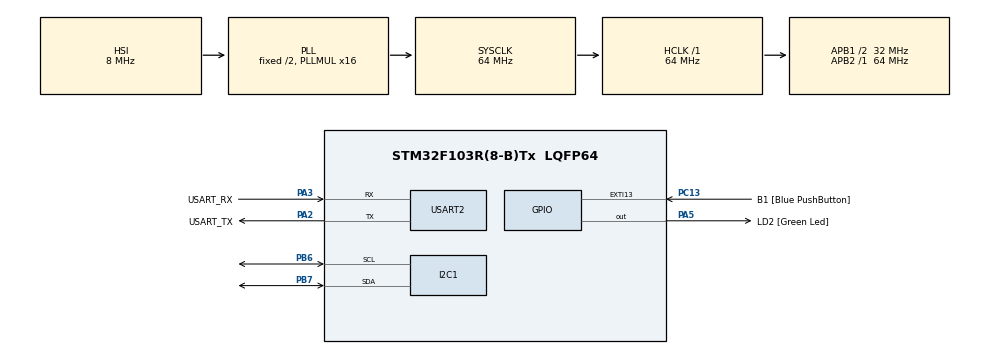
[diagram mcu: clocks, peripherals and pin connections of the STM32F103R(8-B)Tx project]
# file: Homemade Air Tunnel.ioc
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Mcu.Family=STM32F1
Mcu.Name=STM32F103R(8-B)Tx
Mcu.Package=LQFP64
NVIC.EXTI15_10_IRQn=true\:0\:0\:false\:false\:true\:true\:true\:true
NVIC.PriorityGroup=NVIC_PRIORITYGROUP_4
PA13.GPIO_Label=TMS
PA13.Mode=Serial_Wire
PA13.Signal=SYS_JTMS-SWDIO
PA14.GPIO_Label=TCK
PA14.Mode=Serial_Wire
PA14.Signal=SYS_JTCK-SWCLK
PA2.GPIO_Label=USART_TX
PA2.GPIO_Mode=GPIO_MODE_AF_PP
PA2.GPIO_PuPd=GPIO_NOPULL
PA2.GPIO_Speed=GPIO_SPEED_FREQ_LOW
PA2.Mode=Asynchronous
PA2.Signal=USART2_TX
PA3.GPIO_Label=USART_RX
PA3.GPIO_Mode=GPIO_MODE_AF_PP
PA3.GPIO_PuPd=GPIO_NOPULL
PA3.GPIO_Speed=GPIO_SPEED_FREQ_LOW
PA3.Mode=Asynchronous
PA3.Signal=USART2_RX
PA5.GPIO_Label=LD2 [Green Led]
PA5.GPIO_ModeDefaultOutputPP=GPIO_MODE_OUTPUT_PP
PA5.GPIO_PuPd=GPIO_NOPULL
PA5.GPIO_Speed=GPIO_SPEED_FREQ_LOW
PA5.Signal=GPIO_Output
PB3.GPIO_Label=SWO
PB3.Signal=SYS_JTDO-TRACESWO
PB6.Mode=I2C
PB6.Signal=I2C1_SCL
PB7.Mode=I2C
PB7.Signal=I2C1_SDA
PC13-TAMPER-RTC.GPIO_Label=B1 [Blue PushButton]
PC13-TAMPER-RTC.GPIO_PuPd=GPIO_NOPULL
PC13-TAMPER-RTC.Signal=GPXTI13
PC14-OSC32_IN.Mode=LSE-External-Oscillator
PC14-OSC32_IN.Signal=RCC_OSC32_IN
PC15-OSC32_OUT.Mode=LSE-External-Oscillator
PC15-OSC32_OUT.Signal=RCC_OSC32_OUT
PD0-OSC_IN.Mode=HSE-External-Clock-Source
PD0-OSC_IN.Signal=RCC_OSC_IN
PD1-OSC_OUT.Mode=HSE-External-Clock-Source
PD1-OSC_OUT.Signal=RCC_OSC_OUT
ProjectManager.HeapSize=0x200
ProjectManager.StackSize=0x400
ProjectManager.TargetToolchain=STM32CubeIDE
RCC.AHBFreq_Value=64000000
RCC.APB1CLKDivider=RCC_HCLK_DIV2
RCC.APB1Freq_Value=32000000
RCC.APB1TimFreq_Value=64000000
RCC.APB2Freq_Value=64000000
RCC.APB2TimFreq_Value=64000000
RCC.HCLKFreq_Value=64000000
RCC.PLLMUL=RCC_PLL_MUL16
RCC.RTCClockSelection=RCC_RTCCLKSOURCE_LSE
RCC.SYSCLKFreq_VALUE=64000000
RCC.SYSCLKSource=RCC_SYSCLKSOURCE_PLLCLK
RCC.USBFreq_Value=64000000
USART2.VirtualMode=VM_ASYNC
board=NUCLEO-F103RB

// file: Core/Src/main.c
/* USER CODE BEGIN Header */
/**
  ******************************************************************************
  * @file           : main.c
  * @brief          : Main program body
  ******************************************************************************
  * @attention
  *
  * Copyright (c) 2025 STMicroelectronics.
  * All rights reserved.
  *
  * This software is licensed under terms that can be found in the LICENSE file
  * in the root directory of this software component.
  * If no LICENSE file comes with this software, it is provided AS-IS.
  *
  ******************************************************************************
  */
/* USER CODE END Header */
#include "main.h"

/* USER CODE BEGIN Includes */
#include "math.h"
/* USER CODE END Includes */

/* USER CODE BEGIN PD */
#define SENSOR_ADDRESS 0x28
#define P_MIN -1.0 // Minimum pressure range in PSI
#define P_MAX 1.0  // Maximum pressure range in PSI
#define P_CONV 6894.757 // Conversion factor from PSI to Pascals
#define airDensity 1.225f
/* USER CODE END PD */

I2C_HandleTypeDef hi2c1;

UART_HandleTypeDef huart2;

/* USER CODE BEGIN PV */
uint8_t RX_Buffer[4];
float airspeed = 0.0;
int i = 0;
int status;
float deltaP, argument;
int16_t differentialCounts;
HAL_I2C_StateTypeDef I2C_State;
float temperature_c;
int16_t temperature;
HAL_StatusTypeDef ret;
uint16_t pressure_raw;
/* USER CODE END PV */

void SystemClock_Config(void);
static void MX_GPIO_Init(void);
static void MX_USART2_UART_Init(void);
static void MX_I2C1_Init(void);
/* USER CODE BEGIN PFP */
float calculate_airspeed(uint16_t pressure_raw);
float fix_val(float dp);
/* USER CODE END PFP */

int main(void)
{

  /* MCU Configuration--------------------------------------------------------*/

  /* Reset of all peripherals, Initializes the Flash interface and the Systick. */
  HAL_Init();

  /* Configure the system clock */
  SystemClock_Config();

  /* Initialize all configured peripherals */
  MX_GPIO_Init();
  MX_USART2_UART_Init();
  MX_I2C1_Init();

  /* Infinite loop */
  while (1)
  {

    /* USER CODE BEGIN 3 */
	  I2C_State = HAL_I2C_GetState(&hi2c1);
	  if (I2C_State == HAL_I2C_STATE_READY) {
		  ret = HAL_I2C_Master_Receive(&hi2c1, (uint16_t)SENSOR_ADDRESS << 1, RX_Buffer, sizeof(RX_Buffer), 1000);
		  i++;
		  pressure_raw = (RX_Buffer[0] << 8) | RX_Buffer[1];
		  status = pressure_raw & 0b1100000000000000;
		  pressure_raw &= 0b0011111111111111;

		  temperature = ((RX_Buffer[2] << 8) + (0b11100000 & RX_Buffer[3])) / (1 << 5);
		  temperature_c = ((200.0 * temperature) / 2047) - 50.0;

		  const float diff_press_PSI = -((pressure_raw - 0.1f * 16383.f) * (P_MAX - P_MIN) / (0.8f * 16383.f) + P_MIN);

	  	  float diff_press_pa = diff_press_PSI * P_CONV;
//
//		  differentialCounts = (int16_t)pressure_raw;
//		  deltaP = (float)differentialCounts / 4.0f;
	  	  float pressure_v2 = fix_val(diff_press_pa);
//	  	float pressure_v2 = diff_press_pa;

		  argument = (2.0f * pressure_v2) / airDensity;
		  airspeed = sqrtf(argument);

		  //pressure_raw -= 8192;

		  //airspeed = calculate_airspeed(pressure_raw);
	  }
	HAL_Delay(100);
  }
  /* USER CODE END 3 */
}

void SystemClock_Config(void)
{
  RCC_OscInitTypeDef RCC_OscInitStruct = {0};
  RCC_ClkInitTypeDef RCC_ClkInitStruct = {0};

  /** Initializes the RCC Oscillators according to the specified parameters
  * in the RCC_OscInitTypeDef structure.
  */
  RCC_OscInitStruct.OscillatorType = RCC_OSCILLATORTYPE_HSI;
  RCC_OscInitStruct.HSIState = RCC_HSI_ON;
  RCC_OscInitStruct.HSICalibrationValue = RCC_HSICALIBRATION_DEFAULT;
  RCC_OscInitStruct.PLL.PLLState = RCC_PLL_ON;
  RCC_OscInitStruct.PLL.PLLSource = RCC_PLLSOURCE_HSI_DIV2;
  RCC_OscInitStruct.PLL.PLLMUL = RCC_PLL_MUL16;
  if (HAL_RCC_OscConfig(&RCC_OscInitStruct) != HAL_OK)
  {
    Error_Handler();
  }

  /** Initializes the CPU, AHB and APB buses clocks
  */
  RCC_ClkInitStruct.ClockType = RCC_CLOCKTYPE_HCLK|RCC_CLOCKTYPE_SYSCLK
                              |RCC_CLOCKTYPE_PCLK1|RCC_CLOCKTYPE_PCLK2;
  RCC_ClkInitStruct.SYSCLKSource = RCC_SYSCLKSOURCE_PLLCLK;
  RCC_ClkInitStruct.AHBCLKDivider = RCC_SYSCLK_DIV1;
  RCC_ClkInitStruct.APB1CLKDivider = RCC_HCLK_DIV2;
  RCC_ClkInitStruct.APB2CLKDivider = RCC_HCLK_DIV1;

  if (HAL_RCC_ClockConfig(&RCC_ClkInitStruct, FLASH_LATENCY_2) != HAL_OK)
  {
    Error_Handler();
  }
}

static void MX_I2C1_Init(void)
{

  hi2c1.Instance = I2C1;
  hi2c1.Init.ClockSpeed = 100000;
  hi2c1.Init.DutyCycle = I2C_DUTYCYCLE_2;
  hi2c1.Init.OwnAddress1 = 0;
  hi2c1.Init.AddressingMode = I2C_ADDRESSINGMODE_7BIT;
  hi2c1.Init.DualAddressMode = I2C_DUALADDRESS_DISABLE;
  hi2c1.Init.OwnAddress2 = 0;
  hi2c1.Init.GeneralCallMode = I2C_GENERALCALL_DISABLE;
  hi2c1.Init.NoStretchMode = I2C_NOSTRETCH_DISABLE;
  if (HAL_I2C_Init(&hi2c1) != HAL_OK)
  {
    Error_Handler();
  }

}

static void MX_USART2_UART_Init(void)
{

  huart2.Instance = USART2;
  huart2.Init.BaudRate = 115200;
  huart2.Init.WordLength = UART_WORDLENGTH_8B;
  huart2.Init.StopBits = UART_STOPBITS_1;
  huart2.Init.Parity = UART_PARITY_NONE;
  huart2.Init.Mode = UART_MODE_TX_RX;
  huart2.Init.HwFlowCtl = UART_HWCONTROL_NONE;
  huart2.Init.OverSampling = UART_OVERSAMPLING_16;
  if (HAL_UART_Init(&huart2) != HAL_OK)
  {
    Error_Handler();
  }

}

static void MX_GPIO_Init(void)
{
  GPIO_InitTypeDef GPIO_InitStruct = {0};

  /* GPIO Ports Clock Enable */
  __HAL_RCC_GPIOC_CLK_ENABLE();
  __HAL_RCC_GPIOD_CLK_ENABLE();
  __HAL_RCC_GPIOA_CLK_ENABLE();
  __HAL_RCC_GPIOB_CLK_ENABLE();

  /*Configure GPIO pin Output Level */
  HAL_GPIO_WritePin(LD2_GPIO_Port, LD2_Pin, GPIO_PIN_RESET);

  /*Configure GPIO pin : B1_Pin */
  GPIO_InitStruct.Pin = B1_Pin;
  GPIO_InitStruct.Mode = GPIO_MODE_IT_RISING;
  GPIO_InitStruct.Pull = GPIO_NOPULL;
  HAL_GPIO_Init(B1_GPIO_Port, &GPIO_InitStruct);

  /*Configure GPIO pin : LD2_Pin */
  GPIO_InitStruct.Pin = LD2_Pin;
  GPIO_InitStruct.Mode = GPIO_MODE_OUTPUT_PP;
  GPIO_InitStruct.Pull = GPIO_NOPULL;
  GPIO_InitStruct.Speed = GPIO_SPEED_FREQ_LOW;
  HAL_GPIO_Init(LD2_GPIO_Port, &GPIO_InitStruct);

  /* EXTI interrupt init*/
  HAL_NVIC_SetPriority(EXTI15_10_IRQn, 0, 0);
  HAL_NVIC_EnableIRQ(EXTI15_10_IRQn);

}

/* USER CODE BEGIN 4 */

void HAL_I2C_MasterRxCpltCallback(I2C_HandleTypeDef *hi2c) {
	airspeed = 1;
    if (hi2c->Instance == I2C1) {
        // DMA transfer complete callback
        // Process received data
        pressure_raw = (RX_Buffer[0] << 8) | RX_Buffer[1];
        airspeed = calculate_airspeed(pressure_raw);

        // Use the airspeed value as needed
    }
}

float calculate_airspeed(uint16_t pressure_raw) {
    // Convert raw pressure to differential pressure in Pascals
    float pressure = ((float)pressure_raw - 8192.0) / 16384.0 * (P_MAX - P_MIN) + P_MIN;
    pressure *= P_CONV; // Convert PSI to Pascals

    // Calculate airspeed in m/s using Bernoulli's equation
    // Airspeed = sqrt(2 * differential pressure / air density)
    // Assuming air density (rho) = 1.225 kg/m^3 at sea level
    float airspeed = sqrt(2.0 * fabs(pressure) / 1.225);

    return airspeed;
}

float fix_val(float dp) {
	const float dp_corr = dp * 96600.0f / 101325;
	// flow through sensor
	float flow_SDP33 = (300.805f - 300.878f / (0.00344205f * powf(dp_corr, 0.68698f) + 1.0f)) * 1.29f / airDensity;

	// for too small readings the compensation might result in a negative flow which causes numerical issues
	if (flow_SDP33 < 0.0f) {
		flow_SDP33 = 0.0f;
	}

	float dp_pitot = 0.0f;

	dp_pitot = (0.0032f * flow_SDP33 * flow_SDP33 + 0.0123f * flow_SDP33 + 1.0f) * 1.29f / airDensity;

	// pressure drop through tube
	const float dp_tube = (flow_SDP33 * 0.674f) / 450.0f * 0.065 * airDensity / 1.29f;

	// speed at pitot-tube tip due to flow through sensor
	float dv = 0.125f * flow_SDP33;

	// sum of all pressure drops
	float dp_tot = dp_corr + dp_tube + dp_pitot;

	const float airspeed_uncorrected = sqrtf(2.0f * dp_tot / airDensity);

	// corrected airspeed
	const float airspeed_corrected = airspeed_uncorrected + dv;

	// return result with correct sign
	return (dp > 0.0f) ? airspeed_corrected : -airspeed_corrected;

}
/* USER CODE END 4 */

void Error_Handler(void)
{
  __disable_irq();
  while (1)
  {
  }
}
